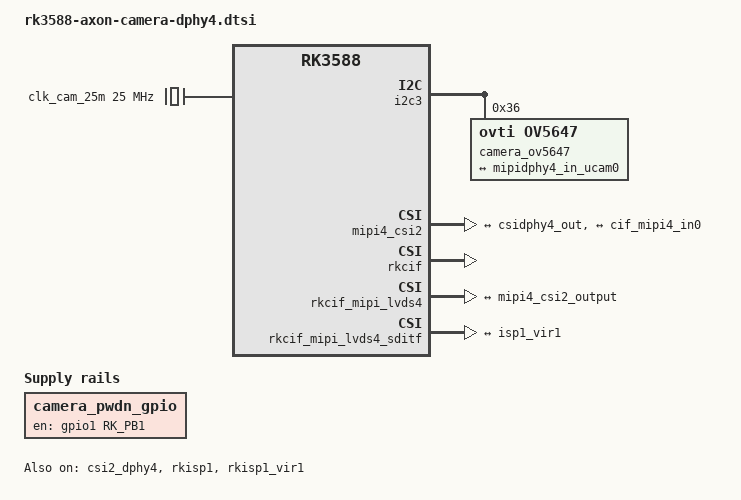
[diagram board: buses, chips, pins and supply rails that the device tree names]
// SPDX-License-Identifier: (GPL-2.0+ OR MIT)
/*
 * Copyright (C) 2023 Vicharak India
 */ 

/{
	compatible = "vicharak,rk3588-axon", "rockchip,rk3588";
	
	camera_pwdn_gpio: camera-pwdn-gpio {
                  status = "okay";
                  compatible = "regulator-fixed";
                  regulator-name = "camera_pwdn_gpio";
                  regulator-always-on;
                  regulator-boot-on;
                  enable-active-high;
                  gpio = <&gpio1 RK_PB1 GPIO_ACTIVE_HIGH>;
                  pinctrl-names = "default";
                  pinctrl-0 = <&cam_pwdn_gpio>;
          };
  
          clk_cam_25m: external-camera-clock-25m {
                  status = "okay";
                  compatible = "fixed-clock";
                  clock-frequency = <25000000>;
                  clock-output-names = "clk_cam_25m";
                  #clock-cells = <0>;
          };

};

&i2c3 {
         status = "okay";
         camera_ov5647: camera-ov5647@36 {
                 status = "okay";
		 compatible = "ovti,ov5647";
		 reg = <0x36>;
 
                 clocks = <&clk_cam_25m>;
                 clock-names = "xvclk";
 
                 rockchip,camera-module-index = <0>;
                 rockchip,camera-module-facing = "back";
                 rockchip,camera-module-name = "ov5647";
                 rockchip,camera-module-lens-name = "default";
 
                 port {
                         ov5647_out0: endpoint {
                                 remote-endpoint = <&mipidphy4_in_ucam0>;
                                 data-lanes = <1 2>;
                         };
                 };
         };
 };

&csi2_dphy4 {
        status = "okay";

        ports {
                #address-cells = <1>;
                #size-cells = <0>;

                port@0 {
                        reg = <0>;
                        #address-cells = <1>;
                        #size-cells = <0>;

                        mipidphy4_in_ucam0: endpoint@1 {
                                reg = <1>;
                                remote-endpoint = <&ov5647_out0>;
                                data-lanes = <1 2>;
                        };

                };

                port@1 {
                        reg = <1>;
                        #address-cells = <1>;
                        #size-cells = <0>;

                        csidphy4_out: endpoint@0 {
                                reg = <0>;
                                remote-endpoint = <&mipi4_csi2_input>;
                        };
                };
        };
};

&mipi4_csi2 {
        status = "okay";

        ports {
                #address-cells = <1>;
                #size-cells = <0>;

                port@0 {
                        reg = <0>;
                        #address-cells = <1>;
                        #size-cells = <0>;

                        mipi4_csi2_input: endpoint@1 {
                                reg = <1>;
                                remote-endpoint = <&csidphy4_out>;
                        };
                };

                port@1 {
                        reg = <1>;
                        #address-cells = <1>;
                        #size-cells = <0>;

                        mipi4_csi2_output: endpoint@0 {
                                reg = <0>;
                                remote-endpoint = <&cif_mipi4_in0>;
                        };
                };
        };
};

&rkcif {
        status = "okay";
};

&rkcif_mipi_lvds4 {
        status = "okay";

        port {
                cif_mipi4_in0: endpoint {
                        remote-endpoint = <&mipi4_csi2_output>;
                };
        };
};

&rkcif_mipi_lvds4_sditf {
        status = "okay";

        port {
                mipi_lvds4_sditf: endpoint {
                        remote-endpoint = <&isp1_vir1>;
                };
        };
};

&rkcif_mmu {
        status = "okay";
};

&rkisp1 {
        status = "okay";
};

&isp1_mmu {
        status = "okay";
};

&rkisp1_vir1 {
        status = "okay";

        port {
                #address-cells = <1>;
                #size-cells = <0>;

                isp1_vir1: endpoint@0 {
                        reg = <0>;
                        remote-endpoint = <&mipi_lvds4_sditf>;
                };
        };
};

&pinctrl {
        camera {
                cam_pwdn_gpio: cam-pwdn-gpio {
                        rockchip,pins = <1 RK_PB1 RK_FUNC_GPIO &pcfg_pull_up>;
                };
        };
};

